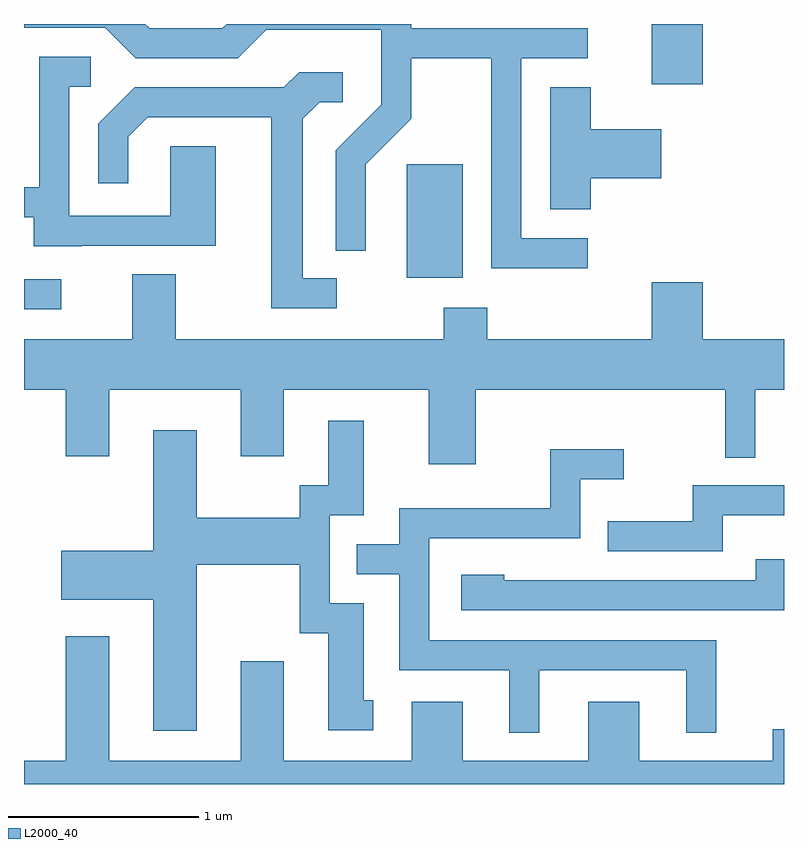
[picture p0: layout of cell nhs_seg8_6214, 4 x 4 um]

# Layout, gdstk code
import gdstk
lib = gdstk.Library(unit=1e-6, precision=1e-09)
def R(c, l, rs):  # rectangles x0, y0, x1, y1
    for r in rs: c.add(gdstk.rectangle(r[:2], r[2:], *l))
def P(c, l, *ps):  # polygons
    for p in ps: c.add(gdstk.Polygon(p, *l))
L2000_40 = (2000, 40)

nhs_seg8_6214 = lib.new_cell('nhs_seg8_6214')
R(nhs_seg8_6214, L2000_40, [(371.611,1836.841,371.808,1836.999), (373.626,1837.006,373.919,1837.604), (374.916,1838.026,375.184,1838.342)])
P(nhs_seg8_6214, L2000_40, [(374.578,1837.214),(374.229,1837.214),(374.229,1838.161),(374.578,1838.161),(374.578,1838.319),(373.649,1838.319),(373.649,1838.342),(372.677,1838.342),(372.654,1838.319),(372.272,1838.319),(372.249,1838.342),(371.611,1838.342),(371.611,1838.321),(372.039,1838.321),(372.199,1838.161),(372.737,1838.161),(372.887,1838.311),(373.491,1838.311),(373.491,1837.917),(373.251,1837.677),(373.251,1837.148),(373.409,1837.148),(373.409,1837.604),(373.649,1837.844),(373.649,1838.161),(374.071,1838.161),(374.071,1837.056),(374.578,1837.056)],
  [(371.915,1837.176),(372.619,1837.176),(372.619,1837.699),(372.381,1837.699),(372.381,1837.334),(371.849,1837.334),(371.849,1838.011),(371.963,1838.011),(371.963,1838.169),(371.691,1838.169),(371.691,1837.484),(371.611,1837.484),(371.611,1837.326),(371.661,1837.326),(371.661,1837.171),(371.915,1837.171)],
  [(373.258,1837.004),(373.079,1837.004),(373.079,1837.844),(373.167,1837.931),(373.288,1837.931),(373.288,1838.089),(373.059,1838.089),(372.979,1838.009),(372.194,1838.009),(372.001,1837.817),(372.001,1837.503),(372.159,1837.503),(372.159,1837.749),(372.262,1837.851),(372.911,1837.851),(372.911,1836.846),(373.258,1836.846)],
  [(374.594,1837.531),(374.964,1837.531),(374.964,1837.789),(374.594,1837.789),(374.594,1838.009),(374.381,1838.009),(374.381,1837.366),(374.594,1837.366)],
  [(373.989,1836.416),(375.301,1836.416),(375.301,1836.058),(375.459,1836.058),(375.459,1836.416),(375.611,1836.416),(375.611,1836.684),(375.184,1836.684),(375.184,1836.984),(374.916,1836.984),(374.916,1836.684),(374.049,1836.684),(374.049,1836.849),(373.821,1836.849),(373.821,1836.684),(372.409,1836.684),(372.409,1837.024),(372.181,1837.024),(372.181,1836.684),(371.611,1836.684),(371.611,1836.416),(371.831,1836.416),(371.831,1836.066),(372.059,1836.066),(372.059,1836.416),(372.751,1836.416),(372.751,1836.066),(372.979,1836.066),(372.979,1836.416),(373.741,1836.416),(373.741,1836.026),(373.989,1836.026)],
  [(372.519,1835.496),(373.061,1835.496),(373.061,1835.136),(373.211,1835.136),(373.211,1834.626),(373.448,1834.626),(373.448,1834.784),(373.399,1834.784),(373.399,1835.294),(373.219,1835.294),(373.219,1835.756),(373.399,1835.756),(373.399,1836.254),(373.211,1836.254),(373.211,1835.914),(373.061,1835.914),(373.061,1835.744),(372.519,1835.744),(372.519,1836.204),(372.291,1836.204),(372.291,1835.569),(371.806,1835.569),(371.806,1835.311),(372.291,1835.311),(372.291,1834.621),(372.519,1834.621)],
  [(374.324,1834.941),(375.096,1834.941),(375.096,1834.613),(375.254,1834.613),(375.254,1835.099),(373.744,1835.099),(373.744,1835.636),(374.539,1835.636),(374.539,1835.946),(374.768,1835.946),(374.768,1836.104),(374.381,1836.104),(374.381,1835.794),(373.586,1835.794),(373.586,1835.604),(373.363,1835.604),(373.363,1835.446),(373.586,1835.446),(373.586,1834.941),(374.166,1834.941),(374.166,1834.613),(374.324,1834.613)],
  [(375.289,1835.756),(375.611,1835.756),(375.611,1835.914),(375.131,1835.914),(375.131,1835.724),(374.683,1835.724),(374.683,1835.566),(375.289,1835.566)],
  [(375.611,1835.524),(375.461,1835.524),(375.461,1835.414),(374.139,1835.414),(374.139,1835.444),(373.911,1835.444),(373.911,1835.256),(375.611,1835.256)],
  [(375.611,1834.629),(375.551,1834.629),(375.551,1834.464),(374.849,1834.464),(374.849,1834.774),(374.581,1834.774),(374.581,1834.464),(373.919,1834.464),(373.919,1834.774),(373.651,1834.774),(373.651,1834.464),(372.979,1834.464),(372.979,1834.989),(372.751,1834.989),(372.751,1834.464),(372.059,1834.464),(372.059,1835.119),(371.831,1835.119),(371.831,1834.464),(371.611,1834.464),(371.611,1834.342),(375.611,1834.342)])

lib.write_gds('nhs_seg8_6214.gds')
